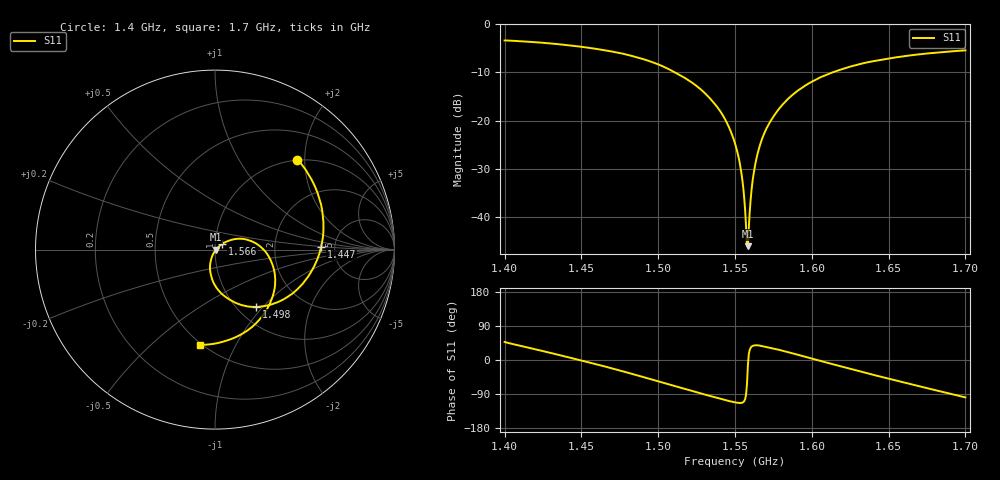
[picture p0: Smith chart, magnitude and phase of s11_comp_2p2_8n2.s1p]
# GHZ S RI R 50.000000000000
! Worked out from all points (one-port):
!   501 points, 1.4 GHz to 1.7 GHz, reference 50 ohm
!   lowest |S11| = -46.1 dB at 1.558 GHz (marker M1), VSWR 1.01, Z = 50.5 - j0.123 ohm
!   |S11| at or under -10 dB: 1.511 GHz to 1.614 GHz (102.5 MHz wide, 6.56 % of centre)
!   S11 on the Smith chart (normalised r, x): 1.4 GHz: 0.99, +1.84; 1.447 GHz: 3.89, +0.15; 1.498 GHz: 1.21, -0.91; 1.566 GHz: 1.08, +0.07; 1.7 GHz: 0.49, -0.73
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1.4  0.458 0.5014
1.4192  0.5709 0.3169
1.4378  0.6043 0.116
1.4474  0.5911 0.0129
1.475  0.4451 -0.2332
1.4984  0.2278 -0.3196
1.5128  0.0988 -0.2884
1.526  0.0149 -0.2213
1.5368  -0.0211 -0.1474
1.544  -0.0279 -0.0957
1.55  -0.0216 -0.0537
1.5524  -0.0162 -0.0378
1.5542  -0.011 -0.026
1.5554  -0.00712 -0.0186
1.5572  -0.000259 -0.00785
1.5584  0.00479 -0.00121
1.559  0.0074 0.00215
1.5608  0.0156 0.0112
1.562  0.0214 0.0167
1.5656  0.0401 0.0317
1.5692  0.0609 0.0431
1.574  0.0889 0.0535
1.5878  0.1786 0.0551
1.6046  0.2762 -0.0057
1.625  0.3338 -0.1425
1.6436  0.3113 -0.2874
1.6628  0.2216 -0.4171
1.7  -0.0812 -0.5301
